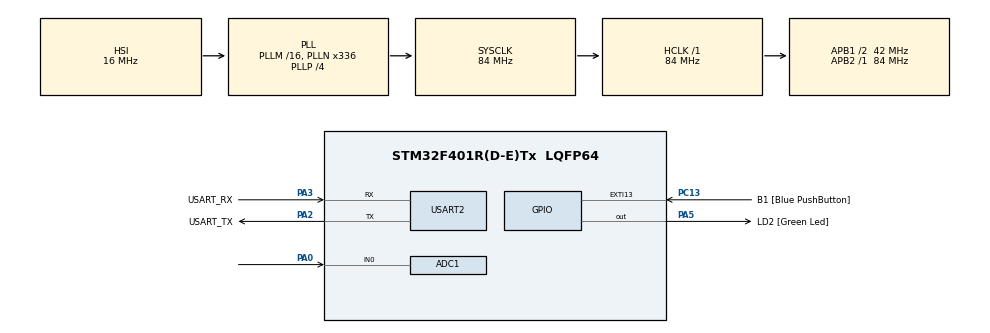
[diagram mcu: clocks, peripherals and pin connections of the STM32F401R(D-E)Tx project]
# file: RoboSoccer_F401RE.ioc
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ADC1.Channel-4\#ChannelRegularConversion=ADC_CHANNEL_0
ADC1.ContinuousConvMode=DISABLE
ADC1.DMAContinuousRequests=ENABLE
ADC1.InjNumberOfConversion=0
ADC1.NbrOfConversion=1
ADC1.NbrOfConversionFlag=1
ADC1.Rank-4\#ChannelRegularConversion=1
ADC1.SamplingTime-4\#ChannelRegularConversion=ADC_SAMPLETIME_480CYCLES
ADC1.ScanConvMode=ENABLE
ADC1.master=1
Dma.ADC1.0.Direction=DMA_PERIPH_TO_MEMORY
Dma.ADC1.0.FIFOMode=DMA_FIFOMODE_DISABLE
Dma.ADC1.0.Instance=DMA2_Stream0
Dma.ADC1.0.MemDataAlignment=DMA_MDATAALIGN_HALFWORD
Dma.ADC1.0.MemInc=DMA_MINC_ENABLE
Dma.ADC1.0.Mode=DMA_CIRCULAR
Dma.ADC1.0.PeriphDataAlignment=DMA_PDATAALIGN_HALFWORD
Dma.ADC1.0.PeriphInc=DMA_PINC_DISABLE
Dma.ADC1.0.Priority=DMA_PRIORITY_MEDIUM
Dma.Request0=ADC1
FREERTOS.BinarySemaphores01=adcSem,Dynamic,NULL
FREERTOS.Tasks01=SensorTask,48,128,StartSensorTask,Default,NULL,Dynamic,NULL,NULL;myTask02,24,128,GeneralTask,Default,NULL,Dynamic,NULL,NULL
FREERTOS.configUSE_TICK_HOOK=1
Mcu.Family=STM32F4
Mcu.Name=STM32F401R(D-E)Tx
Mcu.Package=LQFP64
NVIC.DMA2_Stream0_IRQn=true\:5\:0\:false\:false\:true\:true\:false\:true\:true
NVIC.PriorityGroup=NVIC_PRIORITYGROUP_4
NVIC.TIM1_TRG_COM_TIM11_IRQn=true\:15\:0\:false\:false\:true\:false\:false\:true\:true
NVIC.TimeBase=TIM1_TRG_COM_TIM11_IRQn
NVIC.TimeBaseIP=TIM11
PA0-WKUP.Signal=ADCx_IN0
PA13.GPIO_Label=TMS
PA13.Mode=Serial_Wire
PA13.Signal=SYS_JTMS-SWDIO
PA14.GPIO_Label=TCK
PA14.Mode=Serial_Wire
PA14.Signal=SYS_JTCK-SWCLK
PA2.GPIO_Label=USART_TX
PA2.GPIO_Mode=GPIO_MODE_AF_PP
PA2.GPIO_PuPd=GPIO_NOPULL
PA2.GPIO_Speed=GPIO_SPEED_FREQ_LOW
PA2.Mode=Asynchronous
PA2.Signal=USART2_TX
PA3.GPIO_Label=USART_RX
PA3.GPIO_Mode=GPIO_MODE_AF_PP
PA3.GPIO_PuPd=GPIO_NOPULL
PA3.GPIO_Speed=GPIO_SPEED_FREQ_LOW
PA3.Mode=Asynchronous
PA3.Signal=USART2_RX
PA5.GPIO_Label=LD2 [Green Led]
PA5.GPIO_Mode=GPIO_MODE_OUTPUT_PP
PA5.GPIO_PuPd=GPIO_NOPULL
PA5.GPIO_Speed=GPIO_SPEED_FREQ_LOW
PA5.Signal=GPIO_Output
PB3.GPIO_Label=SWO
PB3.Signal=SYS_JTDO-SWO
PC13-ANTI_TAMP.GPIO_Label=B1 [Blue PushButton]
PC13-ANTI_TAMP.GPIO_ModeDefaultEXTI=GPIO_MODE_IT_FALLING
PC13-ANTI_TAMP.GPIO_PuPd=GPIO_NOPULL
PC13-ANTI_TAMP.Signal=GPXTI13
PC14-OSC32_IN.Mode=LSE-External-Oscillator
PC14-OSC32_IN.Signal=RCC_OSC32_IN
PC15-OSC32_OUT.Mode=LSE-External-Oscillator
PC15-OSC32_OUT.Signal=RCC_OSC32_OUT
PH0\ -\ OSC_IN.Mode=HSE-External-Clock-Source
PH0\ -\ OSC_IN.Signal=RCC_OSC_IN
PH1\ -\ OSC_OUT.Mode=HSE-External-Clock-Source
PH1\ -\ OSC_OUT.Signal=RCC_OSC_OUT
ProjectManager.HeapSize=0x200
ProjectManager.StackSize=0x400
ProjectManager.TargetToolchain=STM32CubeIDE
RCC.48MHZClocksFreq_Value=48000000
RCC.AHBFreq_Value=84000000
RCC.APB1CLKDivider=RCC_HCLK_DIV2
RCC.APB1Freq_Value=42000000
RCC.APB1TimFreq_Value=84000000
RCC.APB2Freq_Value=84000000
RCC.APB2TimFreq_Value=84000000
RCC.CortexFreq_Value=84000000
RCC.HCLKFreq_Value=84000000
RCC.HSE_VALUE=8000000
RCC.HSI_VALUE=16000000
RCC.PLLN=336
RCC.PLLP=RCC_PLLP_DIV4
RCC.PLLQ=7
RCC.SYSCLKFreq_VALUE=84000000
RCC.SYSCLKSource=RCC_SYSCLKSOURCE_PLLCLK
RCC.VCOOutputFreq_Value=336000000
SH.ADCx_IN0.0=ADC1_IN0,IN0
USART2.VirtualMode=VM_ASYNC
VP_FREERTOS_VS_CMSIS_V2.Mode=CMSIS_V2
VP_SYS_VS_tim11.Mode=TIM11
board=NUCLEO-F401RE

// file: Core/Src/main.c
/* USER CODE BEGIN Header */
/**
  ******************************************************************************
  * @file           : main.c
  * @brief          : Main program body
  ******************************************************************************
  * @attention
  *
  * Copyright (c) 2025 STMicroelectronics.
  * All rights reserved.
  *
  * This software is licensed under terms that can be found in the LICENSE file
  * in the root directory of this software component.
  * If no LICENSE file comes with this software, it is provided AS-IS.
  *
  ******************************************************************************
  */
/* USER CODE END Header */
#include "main.h"
#include "cmsis_os.h"

/* USER CODE BEGIN Includes */
#include "adc_driver.h"
/* USER CODE END Includes */

ADC_HandleTypeDef hadc1;
DMA_HandleTypeDef hdma_adc1;

UART_HandleTypeDef huart2;

/* Definitions for SensorTask */
osThreadId_t SensorTaskHandle;
const osThreadAttr_t SensorTask_attributes = {
  .name = "SensorTask",
  .stack_size = 128 * 4,
  .priority = (osPriority_t) osPriorityRealtime,
};
/* Definitions for myTask02 */
osThreadId_t myTask02Handle;
const osThreadAttr_t myTask02_attributes = {
  .name = "myTask02",
  .stack_size = 128 * 4,
  .priority = (osPriority_t) osPriorityNormal,
};
/* Definitions for adcSem */
osSemaphoreId_t adcSemHandle;
const osSemaphoreAttr_t adcSem_attributes = {
  .name = "adcSem"
};
/* USER CODE BEGIN PV */
volatile uint8_t time_flags = 0;
extern uint16_t filtered_adc_buffer[ADC_CHANNEL_COUNT];
extern uint16_t adc_buffer[ADC_CHANNEL_COUNT];
/* USER CODE END PV */

void SystemClock_Config(void);
static void MX_GPIO_Init(void);
static void MX_DMA_Init(void);
static void MX_USART2_UART_Init(void);
static void MX_ADC1_Init(void);
void StartSensorTask(void *argument);
void GeneralTask(void *argument);

/* USER CODE BEGIN PFP */
extern bool ADC_ReadAverage(uint16_t *avg_buffer, TickType_t timeout_ms);
/* USER CODE END PFP */

int main(void)
{

  /* MCU Configuration--------------------------------------------------------*/

  /* Reset of all peripherals, Initializes the Flash interface and the Systick. */
  HAL_Init();

  /* Configure the system clock */
  SystemClock_Config();

  /* Initialize all configured peripherals */
  MX_GPIO_Init();
  MX_DMA_Init();
  MX_USART2_UART_Init();
  MX_ADC1_Init();

  /* Init scheduler */
  osKernelInitialize();

  /* Create the semaphores(s) */
  /* creation of adcSem */
  adcSemHandle = osSemaphoreNew(1, 1, &adcSem_attributes);

  /* Create the thread(s) */
  /* creation of SensorTask */
  SensorTaskHandle = osThreadNew(StartSensorTask, NULL, &SensorTask_attributes);

  /* creation of myTask02 */
  myTask02Handle = osThreadNew(GeneralTask, NULL, &myTask02_attributes);

  /* Start scheduler */
  osKernelStart();

  /* We should never get here as control is now taken by the scheduler */
  /* Infinite loop */
  while (1)
  {

  }
}

void SystemClock_Config(void)
{
  RCC_OscInitTypeDef RCC_OscInitStruct = {0};
  RCC_ClkInitTypeDef RCC_ClkInitStruct = {0};

  /** Configure the main internal regulator output voltage
  */
  __HAL_RCC_PWR_CLK_ENABLE();
  __HAL_PWR_VOLTAGESCALING_CONFIG(PWR_REGULATOR_VOLTAGE_SCALE2);

  /** Initializes the RCC Oscillators according to the specified parameters
  * in the RCC_OscInitTypeDef structure.
  */
  RCC_OscInitStruct.OscillatorType = RCC_OSCILLATORTYPE_HSI;
  RCC_OscInitStruct.HSIState = RCC_HSI_ON;
  RCC_OscInitStruct.HSICalibrationValue = RCC_HSICALIBRATION_DEFAULT;
  RCC_OscInitStruct.PLL.PLLState = RCC_PLL_ON;
  RCC_OscInitStruct.PLL.PLLSource = RCC_PLLSOURCE_HSI;
  RCC_OscInitStruct.PLL.PLLM = 16;
  RCC_OscInitStruct.PLL.PLLN = 336;
  RCC_OscInitStruct.PLL.PLLP = RCC_PLLP_DIV4;
  RCC_OscInitStruct.PLL.PLLQ = 7;
  if (HAL_RCC_OscConfig(&RCC_OscInitStruct) != HAL_OK)
  {
    Error_Handler();
  }

  /** Initializes the CPU, AHB and APB buses clocks
  */
  RCC_ClkInitStruct.ClockType = RCC_CLOCKTYPE_HCLK|RCC_CLOCKTYPE_SYSCLK
                              |RCC_CLOCKTYPE_PCLK1|RCC_CLOCKTYPE_PCLK2;
  RCC_ClkInitStruct.SYSCLKSource = RCC_SYSCLKSOURCE_PLLCLK;
  RCC_ClkInitStruct.AHBCLKDivider = RCC_SYSCLK_DIV1;
  RCC_ClkInitStruct.APB1CLKDivider = RCC_HCLK_DIV2;
  RCC_ClkInitStruct.APB2CLKDivider = RCC_HCLK_DIV1;

  if (HAL_RCC_ClockConfig(&RCC_ClkInitStruct, FLASH_LATENCY_2) != HAL_OK)
  {
    Error_Handler();
  }
}

static void MX_ADC1_Init(void)
{

  ADC_ChannelConfTypeDef sConfig = {0};

  /** Configure the global features of the ADC (Clock, Resolution, Data Alignment and number of conversion)
  */
  hadc1.Instance = ADC1;
  hadc1.Init.ClockPrescaler = ADC_CLOCK_SYNC_PCLK_DIV4;
  hadc1.Init.Resolution = ADC_RESOLUTION_12B;
  hadc1.Init.ScanConvMode = ENABLE;
  hadc1.Init.ContinuousConvMode = DISABLE;
  hadc1.Init.DiscontinuousConvMode = DISABLE;
  hadc1.Init.ExternalTrigConvEdge = ADC_EXTERNALTRIGCONVEDGE_NONE;
  hadc1.Init.ExternalTrigConv = ADC_SOFTWARE_START;
  hadc1.Init.DataAlign = ADC_DATAALIGN_RIGHT;
  hadc1.Init.NbrOfConversion = 1;
  hadc1.Init.DMAContinuousRequests = ENABLE;
  hadc1.Init.EOCSelection = ADC_EOC_SINGLE_CONV;
  if (HAL_ADC_Init(&hadc1) != HAL_OK)
  {
    Error_Handler();
  }

  /** Configure for the selected ADC regular channel its corresponding rank in the sequencer and its sample time.
  */
  sConfig.Channel = ADC_CHANNEL_0;
  sConfig.Rank = 1;
  sConfig.SamplingTime = ADC_SAMPLETIME_480CYCLES;
  if (HAL_ADC_ConfigChannel(&hadc1, &sConfig) != HAL_OK)
  {
    Error_Handler();
  }
  /* USER CODE BEGIN ADC1_Init 2 */

  // Initialize adc buffer
  for (uint8_t i = 0; i < ADC_CHANNEL_COUNT; i++) {
  	adc_buffer[i] = 0;
  }
  // semaphore first take() will wait for DMA
  (void)osSemaphoreAcquire(adcSemHandle, 0);
  /* USER CODE END ADC1_Init 2 */

}

static void MX_USART2_UART_Init(void)
{

  huart2.Instance = USART2;
  huart2.Init.BaudRate = 115200;
  huart2.Init.WordLength = UART_WORDLENGTH_8B;
  huart2.Init.StopBits = UART_STOPBITS_1;
  huart2.Init.Parity = UART_PARITY_NONE;
  huart2.Init.Mode = UART_MODE_TX_RX;
  huart2.Init.HwFlowCtl = UART_HWCONTROL_NONE;
  huart2.Init.OverSampling = UART_OVERSAMPLING_16;
  if (HAL_UART_Init(&huart2) != HAL_OK)
  {
    Error_Handler();
  }

}

static void MX_DMA_Init(void)
{

  /* DMA controller clock enable */
  __HAL_RCC_DMA2_CLK_ENABLE();

  /* DMA interrupt init */
  /* DMA2_Stream0_IRQn interrupt configuration */
  HAL_NVIC_SetPriority(DMA2_Stream0_IRQn, 5, 0);
  HAL_NVIC_EnableIRQ(DMA2_Stream0_IRQn);

}

static void MX_GPIO_Init(void)
{
  GPIO_InitTypeDef GPIO_InitStruct = {0};

  /* GPIO Ports Clock Enable */
  __HAL_RCC_GPIOC_CLK_ENABLE();
  __HAL_RCC_GPIOH_CLK_ENABLE();
  __HAL_RCC_GPIOA_CLK_ENABLE();
  __HAL_RCC_GPIOB_CLK_ENABLE();

  /*Configure GPIO pin Output Level */
  HAL_GPIO_WritePin(LD2_GPIO_Port, LD2_Pin, GPIO_PIN_RESET);

  /*Configure GPIO pin : B1_Pin */
  GPIO_InitStruct.Pin = B1_Pin;
  GPIO_InitStruct.Mode = GPIO_MODE_IT_FALLING;
  GPIO_InitStruct.Pull = GPIO_NOPULL;
  HAL_GPIO_Init(B1_GPIO_Port, &GPIO_InitStruct);

  /*Configure GPIO pin : LD2_Pin */
  GPIO_InitStruct.Pin = LD2_Pin;
  GPIO_InitStruct.Mode = GPIO_MODE_OUTPUT_PP;
  GPIO_InitStruct.Pull = GPIO_NOPULL;
  GPIO_InitStruct.Speed = GPIO_SPEED_FREQ_LOW;
  HAL_GPIO_Init(LD2_GPIO_Port, &GPIO_InitStruct);

}

void StartSensorTask(void *argument)
{
  /* USER CODE BEGIN 5 */
	TickType_t xLastWakeTime = xTaskGetTickCount();
  /* Infinite loop */
  for(;;)
  {
  	// TO DO: Write error handler for adc
  	ADC_ReadAverage(filtered_adc_buffer, ADC_TIMEOUT);
    vTaskDelayUntil(&xLastWakeTime, pdMS_TO_TICKS(10));
  }
  /* USER CODE END 5 */
}

void GeneralTask(void *argument)
{
  /* USER CODE BEGIN GeneralTask */
  /* Infinite loop */
  for(;;)
  {
  	// toggle led
  	if(filtered_adc_buffer[0] > 3000) {
  		GPIOA->BSRR = GPIO_PIN_5;
  	} else {
  		GPIOA->BSRR = (uint32_t)GPIO_PIN_5 << 16;
  	}
  }
  /* USER CODE END GeneralTask */
}

void HAL_TIM_PeriodElapsedCallback(TIM_HandleTypeDef *htim)
{
  if (htim->Instance == TIM11) {
    HAL_IncTick();
  }
}

void Error_Handler(void)
{
  __disable_irq();
  while (1)
  {
  }
}

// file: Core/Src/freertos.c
/* USER CODE BEGIN Header */
/**
  ******************************************************************************
  * File Name          : freertos.c
  * Description        : Code for freertos applications
  ******************************************************************************
  * @attention
  *
  * Copyright (c) 2025 STMicroelectronics.
  * All rights reserved.
  *
  * This software is licensed under terms that can be found in the LICENSE file
  * in the root directory of this software component.
  * If no LICENSE file comes with this software, it is provided AS-IS.
  *
  ******************************************************************************
  */
/* USER CODE END Header */

#include "FreeRTOS.h"
#include "task.h"
#include "main.h"

/* USER CODE BEGIN Variables */
extern volatile uint8_t time_flags;
/* USER CODE END Variables */

/* Hook prototypes */
void vApplicationTickHook(void);

/* USER CODE BEGIN 3 */
void vApplicationTickHook(void)
{
	static uint16_t msCount = 0;
	time_flags |= FLAG_1MS_TICK;

	msCount += 1;
	if (msCount % 10 == 0) {
		time_flags |= FLAG_10MS_TICK;
	}
	if (msCount % 100 == 0) {
		time_flags |= FLAG_100MS_TICK;
	}
	if (msCount % 100 == 0) {
		time_flags |= FLAG_1S_TICK;
		msCount = 0;
	}
}
/* USER CODE END 3 */
